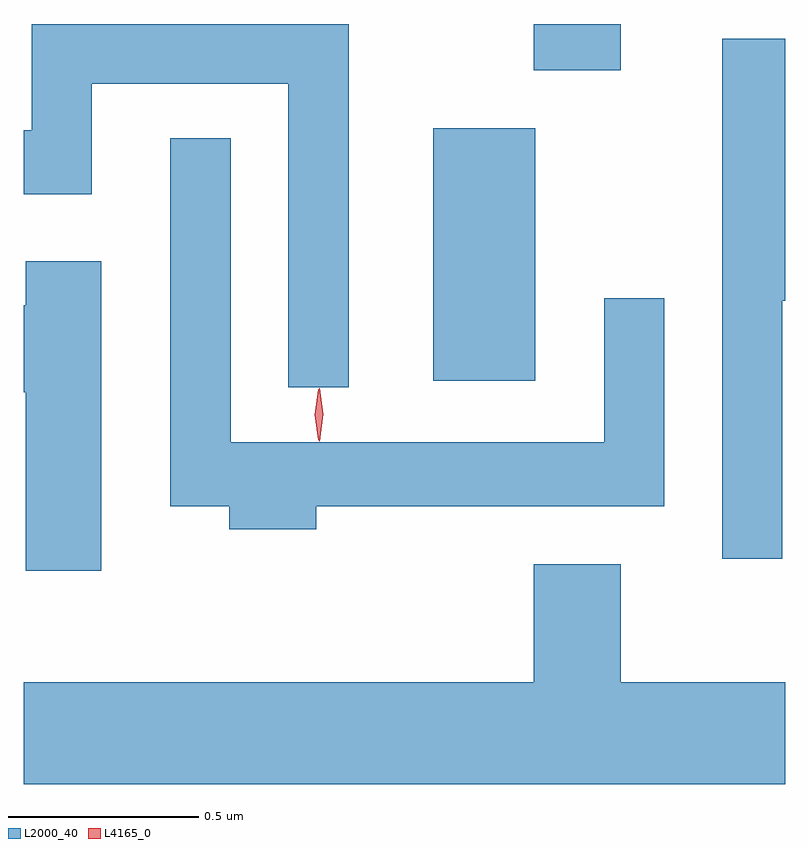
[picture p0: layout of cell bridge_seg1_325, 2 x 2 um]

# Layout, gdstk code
import gdstk
lib = gdstk.Library(unit=1e-6, precision=1e-09)
def R(c, l, rs):  # rectangles x0, y0, x1, y1
    for r in rs: c.add(gdstk.rectangle(r[:2], r[2:], *l))
def P(c, l, *ps):  # polygons
    for p in ps: c.add(gdstk.Polygon(p, *l))
L2000_40 = (2000, 40)
L4165_0 = (4165, 0)

bridge_seg1_325 = lib.new_cell('bridge_seg1_325')
R(bridge_seg1_325, L2000_40, [(847.956,873.996,848.224,874.659), (848.221,874.811,848.449,874.933)])
P(bridge_seg1_325, L2000_40, [(847.734,874.933),(846.901,874.933),(846.901,874.654),(846.881,874.654),(846.881,874.486),(847.059,874.486),(847.059,874.776),(847.576,874.776),(847.576,873.978),(847.734,873.978)],
  [(848.874,874.206),(848.881,874.206),(848.881,874.894),(848.716,874.894),(848.716,873.528),(848.874,873.528)],
  [(847.649,873.666),(848.564,873.666),(848.564,874.213),(848.406,874.213),(848.406,873.834),(847.424,873.834),(847.424,874.633),(847.266,874.633),(847.266,873.666),(847.421,873.666),(847.421,873.606),(847.649,873.606)],
  [(847.084,874.309),(846.886,874.309),(846.886,874.194),(846.881,874.194),(846.881,873.966),(846.886,873.966),(846.886,873.496),(847.084,873.496)],
  [(848.881,873.204),(848.449,873.204),(848.449,873.514),(848.221,873.514),(848.221,873.204),(846.881,873.204),(846.881,872.936),(848.881,872.936)])
P(bridge_seg1_325, L4165_0, [(847.657,873.837),(847.648,873.907),(847.657,873.976),(847.658,873.976),(847.658,873.976),(847.668,873.907),(847.658,873.837),(847.658,873.837)],
  [(847.655,873.839),(847.655,873.84),(847.645,873.906),(847.655,873.972),(847.655,873.973),(847.656,873.972),(847.666,873.906),(847.656,873.84)])

lib.write_gds('bridge_seg1_325.gds')
